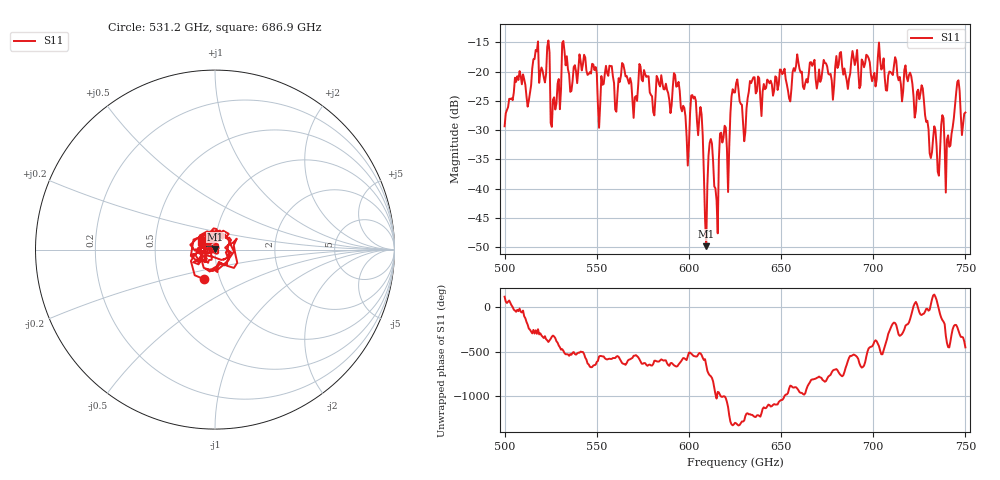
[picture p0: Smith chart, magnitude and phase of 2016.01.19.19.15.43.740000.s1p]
!Created with skrf (http://scikit-rf.org).
# GHz S RI R 50.0
!freq ReS11 ImS11
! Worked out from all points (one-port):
!   401 points, 500 GHz to 750 GHz, reference 50 ohm
!   lowest |S11| = -49.8 dB at 609.4 GHz (marker M1), VSWR 1.01, Z = 50.1 + j0.31 ohm
!   |S11| at or under -10 dB: start of sweep to end of sweep
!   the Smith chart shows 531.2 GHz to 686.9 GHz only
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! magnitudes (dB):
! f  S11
! 500 GHz  -29.3
! 506.9 GHz  -20.8
! 513.1 GHz  -25.0
! 516.9 GHz  -16.3
! 523.1 GHz  -15.8
! 526.2 GHz  -24.8
! 531.2 GHz  -15.1
! 551.9 GHz  -25.6
! 562.5 GHz  -21.8
! 593.8 GHz  -22.4
! 598.8 GHz  -31.1
! 602.5 GHz  -24.6
! 606.2 GHz  -26.0
! 609.4 GHz  -49.8
! 611.9 GHz  -31.5
! 615 GHz  -42.0
! 618.1 GHz  -32.1
! 621.2 GHz  -40.6
! 625 GHz  -23.6
! 630 GHz  -31.9
! 634.4 GHz  -21.4
! 656.2 GHz  -20.1
! 687.5 GHz  -20.4
! 718.8 GHz  -21.7
! 735 GHz  -37.1
! 740.6 GHz  -30.9
! 745.6 GHz  -21.7
! 750 GHz  -27.0
